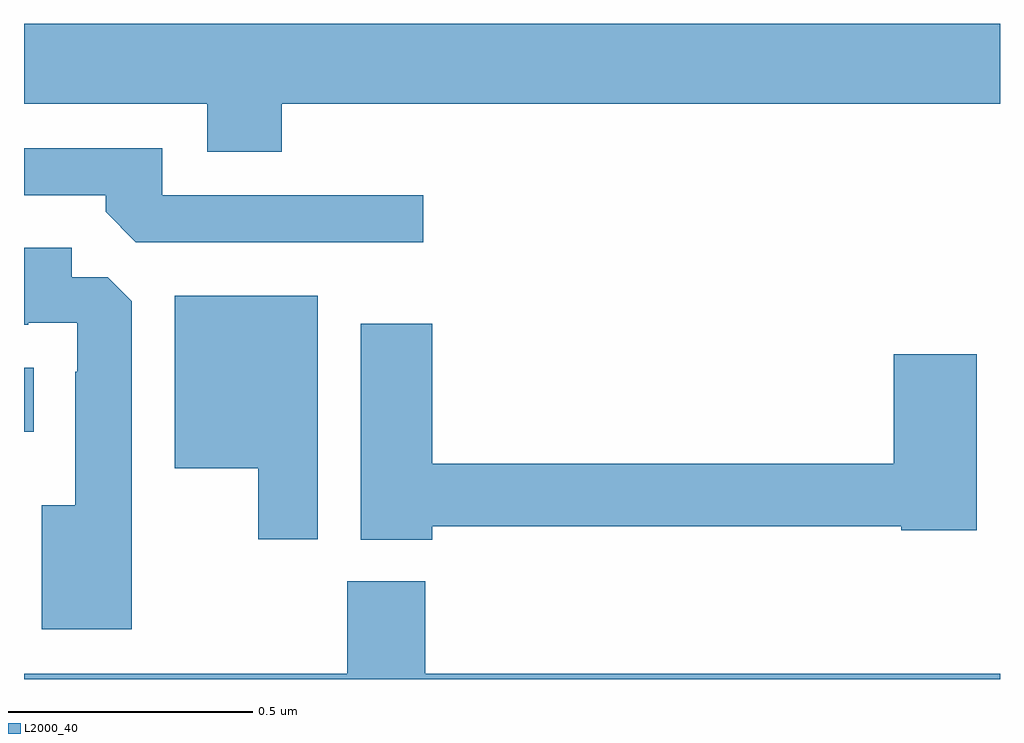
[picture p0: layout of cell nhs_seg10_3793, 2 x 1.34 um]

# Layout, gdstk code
import gdstk
lib = gdstk.Library(unit=1e-6, precision=1e-09)
def R(c, l, rs):  # rectangles x0, y0, x1, y1
    for r in rs: c.add(gdstk.rectangle(r[:2], r[2:], *l))
def P(c, l, *ps):  # polygons
    for p in ps: c.add(gdstk.Polygon(p, *l))
L2000_40 = (2000, 40)

nhs_seg10_3793 = lib.new_cell('nhs_seg10_3793')
R(nhs_seg10_3793, L2000_40, [(158,1269.008,158.02,1269.139)])
P(nhs_seg10_3793, L2000_40, [(158.528,1269.68),(160,1269.68),(160,1269.844),(158,1269.844),(158,1269.68),(158.375,1269.68),(158.375,1269.581),(158.528,1269.581)],
  [(158.818,1269.492),(158.283,1269.492),(158.283,1269.588),(158,1269.588),(158,1269.492),(158.168,1269.492),(158.168,1269.458),(158.229,1269.396),(158.818,1269.396)],
  [(158.221,1269.275),(158.172,1269.324),(158.098,1269.324),(158.098,1269.385),(158,1269.385),(158,1269.227),(158.009,1269.227),(158.009,1269.231),(158.109,1269.231),(158.109,1269.131),(158.105,1269.131),(158.105,1268.857),(158.036,1268.857),(158.036,1268.603),(158.221,1268.603)],
  [(158.602,1269.286),(158.309,1269.286),(158.309,1268.933),(158.48,1268.933),(158.48,1268.787),(158.602,1268.787)],
  [(158.837,1268.814),(159.798,1268.814),(159.798,1268.806),(159.952,1268.806),(159.952,1269.166),(159.782,1269.166),(159.782,1268.942),(158.837,1268.942),(158.837,1269.229),(158.69,1269.229),(158.69,1268.786),(158.837,1268.786)],
  [(160,1268.512),(158.822,1268.512),(158.822,1268.701),(158.662,1268.701),(158.662,1268.512),(158,1268.512),(158,1268.5),(160,1268.5)])

lib.write_gds('nhs_seg10_3793.gds')
